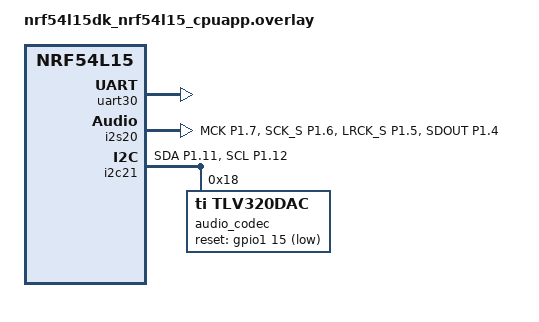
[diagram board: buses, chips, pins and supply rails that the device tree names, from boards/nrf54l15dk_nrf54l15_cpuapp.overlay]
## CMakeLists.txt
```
# SPDX-License-Identifier: Apache-2.0

cmake_minimum_required(VERSION 3.20.0)
find_package(Zephyr REQUIRED HINTS $ENV{ZEPHYR_BASE})
project(bap_broadcast_sink)

target_sources(app PRIVATE
  src/main.c
  src/stream_rx.c
)

target_sources_ifdef(CONFIG_ENABLE_LC3 app PRIVATE src/lc3.c)

if(CONFIG_USE_CODEC_AUDIO_OUTPUT)
  target_sources(app PRIVATE src/hw_codec.c)
endif()

if(CONFIG_USE_USB_AUDIO_OUTPUT)
  include(${ZEPHYR_BASE}/samples/subsys/usb/common/common.cmake)
  target_sources(app PRIVATE src/usb.c)
endif()
```

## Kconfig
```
# Copyright (c) 2022 Nordic Semiconductor ASA
# SPDX-License-Identifier: Apache-2.0

mainmenu "Bluetooth: Broadcast Audio Sink"

config SCAN_OFFLOAD
	bool "Whether to wait for a Broadcast Assistant"
	default y
	# enable PAST support if we can
	select BT_PER_ADV_SYNC_TRANSFER_RECEIVER if (!HAS_BT_CTLR || \
						     BT_CTLR_SYNC_TRANSFER_RECEIVER_SUPPORT)
	help
	  If set to true, the sample will start advertising connectable for
	  Broadcast Assistants.

config SCAN_SELF
	bool "Whether to scan for Broadcast Sources without Broadcast Assistant"
	default y
	help
	  If set to true, the sample will start scanning for Broadcast Sources
	  without waiting for a Broadcast Assistant to connect.

config SCAN_DELAY
	int "Delay before starting scan (in seconds)"
	range 0 255
	default 10
	depends on SCAN_SELF
	help
	  Time to advertise connectable for a Broadcast Assistant to connect
	  before starting scanning for Broadcast Sources.

config TARGET_BROADCAST_NAME
	string "Target Broadcast Device Name"
	default ""
	help
	  Name of target broadcast device. If not empty string, sink device
	  will only listen to the specified broadcast source. Not case sensitive.

config MAX_CODEC_FRAMES_PER_SDU
	int "The maximum number of codec frame per SDU supported"
	default 1
	range 1 255
	help
	  Maximum number of codec frames per SDU supported by this device. Increasing this value
	  allows support for a greater variety of broadcasts, but also increases memory usage.

config ENABLE_LC3
	bool "Enable the LC3 codec"
	# By default let's enable it in the platforms we know are capable of supporting it
	default y
	depends on CPU_HAS_FPU && \
		(ARCH_POSIX || SOC_COMPATIBLE_NRF52X || SOC_COMPATIBLE_NRF5340_CPUAPP || SOC_MIMXRT1062 || SOC_SF32LB525UC6)
	select LIBLC3
	select FPU

config USE_USB_AUDIO_OUTPUT
	bool "Use USB Audio as output"
	depends on ENABLE_LC3
	select USB_DEVICE_STACK_NEXT
	select USBD_AUDIO2_CLASS
	select RING_BUFFER
	help
	  Enables USB audio as output as a USB peripheral. This does not support providing USB
	  audio to e.g. speakers that are also USB peripherals, but can be connected to e.g. a
	  phone or PC as a USB-in device (such as a USB microphone).
	  USB audio only supports a single audio channel.

config USE_CODEC_AUDIO_OUTPUT
	bool "Use Codec Audio as output"
	depends on ENABLE_LC3
	select RING_BUFFER
	help
	  Enables codec audio as output. This uses the hardware audio codec for audio playback.
	  Supports audio output through the codec driver.

config USE_SPECIFIC_BROADCAST_CHANNEL
	bool "Use specific Broadcast Channel Audio Location"
	default y
	depends on USE_USB_AUDIO_OUTPUT
	help
	  Enables the use of a specific Channel Audio Location (see config TARGET_BROADCAST_CHANNEL).

config TARGET_BROADCAST_CHANNEL
	int "Broadcast Channel Audio Location to sync to"
	range 0 3
	default 1
	depends on USE_SPECIFIC_BROADCAST_CHANNEL
	help
	  Channel Audio Location to sync to. These corresponds to the bt_audio_location,
	  supporting mono, left and right channels

config INFO_REPORTING_INTERVAL
	int "Number of SDUs received between each information report"
	default 1000
	help
	  Determines how often information about received data is logged.
	  Set to 0 to disable reporting.

# Source common USB sample options used to initialize new experimental USB device stack.
# The scope of these options is limited to USB samples in project tree,
# you cannot use them in your own application.
source "samples/subsys/usb/common/Kconfig.sample_usbd"

source "Kconfig.zephyr"
```

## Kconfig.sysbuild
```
# Copyright 2023 Nordic Semiconductor ASA
# SPDX-License-Identifier: Apache-2.0

source "share/sysbuild/Kconfig"

config NET_CORE_BOARD
	string
	default "$(BOARD)/nrf5340/cpunet" if $(BOARD) = "nrf5340dk"
	default "$(BOARD)/nrf5340/cpunet" if $(BOARD) = "nrf5340_audio_dk"
	default "$(BOARD)/nrf5340/cpunet" if $(BOARD) = "nrf5340bsim"
	default "$(BOARD)/nrf54h20/cpurad" if $(BOARD) = "nrf54h20dk"
	default "nrf5340bsim/nrf5340/cpunet" if $(BOARD_TARGET_STRING) = "NRF5340BSIM_NRF5340_CPUAPP"

config NET_CORE_IMAGE_HCI_IPC
	bool "HCI IPC image on network core"
	default y
	depends on NET_CORE_BOARD != ""
```

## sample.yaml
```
sample:
  description: Bluetooth Low Energy Audio Broadcast Sink sample
  name: Bluetooth Low Energy Audio Broadcast Sink sample
tests:
  sample.bluetooth.bap_broadcast_sink:
    harness: bluetooth
    platform_allow:
      - qemu_cortex_m3
      - qemu_x86
      - nrf5340dk/nrf5340/cpuapp
      - nrf5340bsim/nrf5340/cpuapp
      - sf32lb52_devkit_lcd/sf32lb525uc6
    integration_platforms:
      - qemu_x86
      - nrf5340dk/nrf5340/cpuapp
    tags: bluetooth
    sysbuild: true
  sample.bluetooth.bap_broadcast_sink.bt_ll_sw_split:
    harness: bluetooth
    platform_allow:
      - nrf52_bsim
      - nrf52833dk/nrf52833
      - nrf52840dongle/nrf52840
    integration_platforms:
      - nrf52_bsim
      - nrf52833dk/nrf52833
      - nrf52840dongle/nrf52840
    extra_args: EXTRA_CONF_FILE=overlay-bt_ll_sw_split.conf
    tags: bluetooth
```

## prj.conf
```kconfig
CONFIG_BT=y
CONFIG_LOG=y
CONFIG_UTF8=y
CONFIG_BT_AUDIO=y
CONFIG_BT_SMP=y
CONFIG_BT_PAC_SNK=y
CONFIG_BT_PERIPHERAL=y
CONFIG_BT_GAP_AUTO_UPDATE_CONN_PARAMS=n
# Set preferred values based on BT_BAP_CONN_PARAM_RELAXED
CONFIG_BT_PERIPHERAL_PREF_MIN_INT=50
CONFIG_BT_PERIPHERAL_PREF_MAX_INT=70
CONFIG_BT_PERIPHERAL_PREF_LATENCY=0
CONFIG_BT_PERIPHERAL_PREF_TIMEOUT=400
CONFIG_BT_OBSERVER=y
CONFIG_BT_GATT_DYNAMIC_DB=y
CONFIG_BT_EXT_ADV=y
CONFIG_BT_PER_ADV_SYNC=y
CONFIG_BT_ISO_SYNC_RECEIVER=y
CONFIG_BT_BAP_BROADCAST_SINK=y
CONFIG_BT_BAP_SCAN_DELEGATOR=y
CONFIG_BT_ISO_MAX_CHAN=2
# Allocate 4 RX buffers per channel
CONFIG_BT_ISO_RX_BUF_COUNT=16
CONFIG_BT_BAP_BROADCAST_SNK_SUBGROUP_COUNT=2
CONFIG_BT_BAP_BROADCAST_SNK_STREAM_COUNT=2
CONFIG_BT_BAP_BASS_MAX_SUBGROUPS=2
CONFIG_BT_BUF_ACL_RX_SIZE=255
CONFIG_BT_BUF_ACL_TX_SIZE=251
CONFIG_BT_AUDIO_CODEC_CFG_MAX_METADATA_SIZE=64
CONFIG_BT_AUDIO_CODEC_CFG_MAX_DATA_SIZE=64
CONFIG_BT_AUDIO_CODEC_CAP_MAX_METADATA_SIZE=64
CONFIG_BT_AUDIO_CODEC_CAP_MAX_DATA_SIZE=64

CONFIG_BT_DEVICE_NAME="Broadcast Audio Sink"
```

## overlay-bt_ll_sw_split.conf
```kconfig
# Zephyr Bluetooth Controller
CONFIG_BT_LL_SW_SPLIT=y

# Enable support for Broadcast ISO Sync
CONFIG_BT_CTLR_SYNC_ISO=y

# Supports the highest SDU size required by any BAP LC3 presets (155)
CONFIG_BT_CTLR_SYNC_ISO_PDU_LEN_MAX=155

# Supports the highest advertising data that is set in a single HCI command in
# Zephyr Bluetooth Controller
CONFIG_BT_CTLR_SCAN_DATA_LEN_MAX=191

# Number of supported streams
CONFIG_BT_CTLR_SYNC_ISO_STREAM_MAX=2
CONFIG_BT_CTLR_ISOAL_SINKS=2
CONFIG_BT_CTLR_ADV_DATA_LEN_MAX=50
```

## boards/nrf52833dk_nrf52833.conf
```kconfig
# Use USB Audio as audio sink
CONFIG_USE_USB_AUDIO_OUTPUT=y
CONFIG_USB_DEVICE_PRODUCT="USB Broadcast Sink"
```

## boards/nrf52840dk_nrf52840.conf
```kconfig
# Use USB Audio as audio sink
CONFIG_USE_USB_AUDIO_OUTPUT=y
CONFIG_SAMPLE_USBD_PRODUCT="USB Broadcast Sink sample"
```

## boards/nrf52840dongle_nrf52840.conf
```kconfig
# Use USB Audio as audio sink
CONFIG_USE_USB_AUDIO_OUTPUT=y
CONFIG_USB_DEVICE_PRODUCT="USB Broadcast Sink"

CONFIG_BOARD_SERIAL_BACKEND_CDC_ACM=n
```

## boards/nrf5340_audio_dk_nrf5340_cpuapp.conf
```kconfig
# Use CS47L63 codec for audio output via I2S
CONFIG_USE_CODEC_AUDIO_OUTPUT=y
CONFIG_SPI=y
CONFIG_AUDIO=y
CONFIG_AUDIO_CODEC=y
CONFIG_USE_I2S_CODEC=y
CONFIG_I2S=y
CONFIG_LOG=y
CONFIG_LOG_BUFFER_SIZE=4096
```

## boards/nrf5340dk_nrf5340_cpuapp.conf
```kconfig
# Use USB Audio as audio sink
CONFIG_USE_USB_AUDIO_OUTPUT=y
CONFIG_USB_DEVICE_PRODUCT="USB Broadcast Sink"
CONFIG_ENTROPY_GENERATOR=y
```

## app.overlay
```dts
/*
 * Copyright (c) 2025 Nordic Semiconductor ASA
 *
 * SPDX-License-Identifier: Apache-2.0
 */

#include <dt-bindings/usb/audio.h>

/ {
	uac2_microphone: usb_audio2 {
		compatible = "zephyr,uac2";
		status = "okay";
		full-speed;
		audio-function = <AUDIO_FUNCTION_MICROPHONE>;

		/* Clock supporting 48KHz
		 *
		 * Since the incoming audio may be between 8 and 48 KHz, we always upsample to 48KHz
		 */
		uac_aclk: aclk {
			compatible = "zephyr,uac2-clock-source";
			clock-type = "internal-programmable";
			frequency-control = "read-only";
			sampling-frequencies = <48000>;
			/* Falsely claim synchronous audio because we
			 * currently don't calculate feedback value
			 */
			sof-synchronized;
		};

		/* The out_terminal supports the incoming Bluetooth LE Audio over ISO
		 * and treats it as a microphone towards the USB host
		 */
		out_terminal: out_terminal {
			compatible = "zephyr,uac2-input-terminal";
			clock-source = <&uac_aclk>;
			terminal-type = <INPUT_TERMINAL_MICROPHONE>;
			front-left;
			front-right;
		};

		/* USB Audio terminal from USB device to USB host */
		in_terminal: in_terminal {
			compatible = "zephyr,uac2-output-terminal";
			data-source = <&out_terminal>;
			clock-source = <&uac_aclk>;
			terminal-type = <USB_TERMINAL_STREAMING>;
		};

		as_iso_in: in_interface {
			compatible = "zephyr,uac2-audio-streaming";
			linked-terminal = <&in_terminal>;
			subslot-size = <2>;
			bit-resolution = <16>;
		};
	};
};
```

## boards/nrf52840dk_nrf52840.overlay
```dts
/*
 * Copyright (c) 2025 Nordic Semiconductor ASA
 *
 * SPDX-License-Identifier: Apache-2.0
 */

#include "../app.overlay"
```

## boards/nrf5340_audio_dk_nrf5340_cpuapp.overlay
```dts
/*
 * Copyright (c) 2025 Nordic Semiconductor ASA
 *
 * SPDX-License-Identifier: Apache-2.0
 */

#include "../app.overlay"

/ {
	aliases {
		codec0 = &cs47l63;
		i2s-codec-tx = &i2s0;
	};
};

/* Use HFCLKAUDIO for stable I2S master clocking on nRF5340 Audio DK */
&clock {
	hfclkaudio-frequency = <12288000>;
};

&i2s0 {
	clock-source = "ACLK";
};
```

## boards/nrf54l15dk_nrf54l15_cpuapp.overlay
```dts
/*
 * Copyright (c) 2025 Nordic Semiconductor ASA
 *
 * SPDX-License-Identifier: Apache-2.0
 */

/ {
	chosen {
		zephyr,shell-uart = &uart30;
		zephyr,console = &uart30;
	};

	aliases {
		codec0 = &audio_codec;
		i2s-codec-tx = &i2s20;
	};
};

&uart20 {
	status = "disabled";
};

&uart30 {
	status = "okay";
};

&i2s20 {
	status = "okay";
	pinctrl-0 = <&i2s20_default>;
	pinctrl-1 = <&i2s20_sleep>;
	pinctrl-names = "default", "sleep";
};

&i2c21 {
	status = "okay";
	pinctrl-0 = <&i2c21_default>;
	pinctrl-1 = <&i2c21_sleep>;
	pinctrl-names = "default", "sleep";

	audio_codec: tlv320dac@18 {
		compatible = "ti,tlv320dac";
		status = "okay";
		reg = <0x18>;
		reset-gpios = <&gpio1 15 GPIO_ACTIVE_LOW>;
	};
};

&pinctrl {
	i2s20_default: i2s20_default {
		group1 {
			psels = <NRF_PSEL(I2S_MCK, 1, 7)>,
				<NRF_PSEL(I2S_SCK_S, 1, 6)>,
				<NRF_PSEL(I2S_LRCK_S, 1, 5)>,
				<NRF_PSEL(I2S_SDOUT, 1, 4)>;
		};
	};

	i2s20_sleep: i2s20_sleep {
		group1 {
			psels = <NRF_PSEL(I2S_MCK, 1, 7)>,
				<NRF_PSEL(I2S_SCK_S, 1, 6)>,
				<NRF_PSEL(I2S_LRCK_S, 1, 5)>,
				<NRF_PSEL(I2S_SDOUT, 1, 4)>;
			low-power-enable;
		};
	};

	i2c21_default: i2c21_default {
		group1 {
			psels = <NRF_PSEL(TWIM_SDA, 1, 11)>,
				<NRF_PSEL(TWIM_SCL, 1, 12)>;
		};
	};

	i2c21_sleep: i2c21_sleep {
		group1 {
			psels = <NRF_PSEL(TWIM_SDA, 1, 11)>,
				<NRF_PSEL(TWIM_SCL, 1, 12)>;
			low-power-enable;
		};
	};
};
```

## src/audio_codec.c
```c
/**
 * @file
 * @brief Bluetooth BAP Broadcast Sink audio codec integration
 *
 * This file handles all the audio codec hardware integration for the sample
 *
 * Copyright (c) 2025 SiFli Technologies(Nanjing) Co., Ltd
 *
 * SPDX-License-Identifier: Apache-2.0
 */

#include <errno.h>
#include <stdbool.h>
#include <stddef.h>
#include <stdint.h>
#include <string.h>

#include <zephyr/autoconf.h>
#include <zephyr/device.h>
#include <zephyr/devicetree.h>
#include <zephyr/kernel.h>
#include <zephyr/logging/log.h>
#include <zephyr/audio/codec.h>

LOG_MODULE_REGISTER(codec, CONFIG_LOG_DEFAULT_LEVEL);

/*
 * Size of one audio block transferred to the codec, in bytes.
 *
 * For the configuration used here (16bit samples, mono channel),
 * 480 bytes correspond to 240 PCM samples per block. This value was
 * chosen as a compromise between:
 *  - keeping latency reasonably low (smaller blocks)
 *  - avoiding excessive interrupt / DMA overhead (larger blocks).
 * If the PCM format (sample width or number of channels) is changed,
 * this constant should be revisited so that the block size remains
 * appropriate for the target use case and hardware.
 */
#define CODEC_BLOCK_SIZE 480U

/*
 * Default speaker/output volume sent via AUDIO_PROPERTY_OUTPUT_VOLUME.
 *
 * The valid numeric range and exact mapping to dB are codec‑dependent;
 * refer to the specific codec driver / datasheet for details. The value
 * 15 was selected as a conservative, comfortable default for this sample
 * application. Adjust as needed to match the desired default output level.
 */
#define SPEAKER_VOL 15

/*
 * Total size of the ring buffer used to queue audio data for the codec.
 *
 * The buffer is sized to hold 20 CODEC_BLOCK_SIZE blocks. Having multiple
 * blocks queued reduces the likelihood of underruns when the producer is
 * briefly delayed, while still keeping overall latency and RAM usage
 * bounded. Increasing the multiplier adds buffering (and latency / RAM
 * consumption); decreasing it reduces buffering but makes underruns more
 * likely on a busy system.
 */
#define RING_BUF_SIZE (CODEC_BLOCK_SIZE * 20U)

#if DT_NODE_HAS_STATUS_OKAY(DT_ALIAS(codec0))

static uint8_t ring_buffer[RING_BUF_SIZE];
static struct ring_buf rb;
static bool codec_configured;
static uint8_t block_data[CODEC_BLOCK_SIZE];
static const struct device *g_dev;

static void tx_done(const struct device *dev, void *user_data)
{
	uint32_t avail;
	uint32_t read;
	int written;

	avail = ring_buf_size_get(&rb);
	if (avail < CODEC_BLOCK_SIZE) {
		LOG_WRN("Buffer does not have enough data for a full block");
		return;
	}
	read = ring_buf_get(&rb, block_data, CODEC_BLOCK_SIZE);
	if (read != CODEC_BLOCK_SIZE) {
		LOG_WRN("Failed to read full block from ring buffer: %u bytes", read);
		return;
	}
	written = audio_codec_write(dev, block_data, CODEC_BLOCK_SIZE);
	if (written != CODEC_BLOCK_SIZE) {
		LOG_WRN("Failed to write full block data to audio device: %u bytes", written);
		return;
	}
}

int hw_codec_open(void)
{
	g_dev = DEVICE_DT_GET(DT_ALIAS(codec0));
	if (!device_is_ready(g_dev)) {
		LOG_ERR("Could not open codec device");
		return -EIO;
	}
	ring_buf_init(&rb, RING_BUF_SIZE, ring_buffer);
	return 0;
}

int hw_codec_cfg(uint32_t samplerate)
{
	int ret;
	audio_property_value_t val = {.vol = SPEAKER_VOL};
	struct audio_codec_cfg cfg = {
		.dai_type = AUDIO_DAI_TYPE_PCM,
		.dai_cfg.pcm.dir = AUDIO_DAI_DIR_TX,
		.dai_cfg.pcm.pcm_width = AUDIO_PCM_WIDTH_16_BITS,
		.dai_cfg.pcm.channels = 1U,
		.dai_cfg.pcm.block_size = CODEC_BLOCK_SIZE,
		.dai_cfg.pcm.samplerate = samplerate,
	};

	if (codec_configured) {
		LOG_WRN("Already configured");
		return -EALREADY;
	}

	LOG_INF("codec: samplerate=%d block_size=%d", samplerate, CODEC_BLOCK_SIZE);
	audio_codec_register_done_callback(g_dev, tx_done, NULL, NULL, NULL);
	ret = audio_codec_configure(g_dev, &cfg);
	if (ret != 0) {
		LOG_ERR("Failed to configure codec (err %d)", ret);
		return ret;
	}

	ret = audio_codec_start(g_dev, AUDIO_DAI_DIR_TX);
	if (ret != 0) {
		LOG_ERR("Failed to start codec (err %d)", ret);
		return ret;
	}

	ret = audio_codec_set_property(g_dev, AUDIO_PROPERTY_OUTPUT_VOLUME, 0, val);
	if (ret != 0) {
		LOG_ERR("Failed to set codec output volume (err %d)", ret);
		audio_codec_stop(g_dev, AUDIO_DAI_DIR_TX);
		return ret;
	}
	codec_configured = true;

	return 0;
}

uint32_t hw_codec_write_data(const uint8_t *data, uint32_t len)
{
	uint32_t bytes_put;

	bytes_put = ring_buf_put(&rb, data, len);
	if (bytes_put != len) {
		LOG_WRN("Buffer full, only added %u bytes", bytes_put);
	}
	return bytes_put;
}

int hw_codec_close(void)
{
	if (g_dev != NULL && codec_configured) {
		audio_codec_stop(g_dev, AUDIO_DAI_DIR_TX);
		ring_buf_reset(&rb);
		codec_configured = false;
		return 0;
	} else {
		return -EIO;
	}
}

#else

int hw_codec_open(void)
{
	return 0;
}

int hw_codec_cfg(uint32_t samplerate)
{
	return 0;
}

uint32_t hw_codec_write_data(const uint8_t *data, uint32_t len)
{
	return len;
}

int hw_codec_close(void)
{
	return 0;
}

#endif
```

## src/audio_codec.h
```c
/**
 * @file
 * @brief Bluetooth BAP Broadcast Sink sample audio codec header
 *
 * This file declares the audio codec related functionality for the sample
 *
 * Copyright (c) 2025 SiFli Technologies(Nanjing) Co., Ltd
 *
 * SPDX-License-Identifier: Apache-2.0
 */

#ifndef SAMPLE_BAP_BROADCAST_SINK_AUDIO_CODEC_H
#define SAMPLE_BAP_BROADCAST_SINK_AUDIO_CODEC_H
#include <stddef.h>
#include <stdint.h>

/**
 * @brief Open and initialize the audio codec.
 *
 * This function prepares the audio codec for use, allocating and
 * initializing any required resources.
 *
 * @retval 0        On success.
 * @retval negative On failure, with a negative error code.
 */
int hw_codec_open(void);

/**
 * @brief Configure the audio codec sampling rate.
 *
 * This function applies the desired sampling rate to the audio codec.
 * It must be called after @ref hw_codec_open and before sending
 * audio data with @ref hw_codec_write_data.
 *
 * @param samplerate Sampling rate in Hz (for example, 48000 for 48 kHz).
 *
 * @retval 0        On success.
 * @retval -EALREADY If the codec is already configured.
 * @return negative  On other failures, with a negative error code.
 */
int hw_codec_cfg(uint32_t samplerate);

/**
 * @brief Write audio data to the codec for playback.
 *
 * This function sends raw audio samples to the codec. It should be
 * called after the codec has been opened and configured.
 *
 * @param data Pointer to the buffer containing audio data.
 * @param len  Number of bytes of audio data to write.
 *
 * @return The number of bytes actually written to the codec. A value
 *         less than @p len indicates a partial write.
 */
uint32_t hw_codec_write_data(const uint8_t *data, uint32_t len);

/**
 * @brief Close the audio codec and release resources.
 *
 * This function stops the codec if necessary and frees any resources
 * that were allocated by @ref hw_codec_open.
 *
 * @retval 0    On success.
 * @retval -EIO If the codec has not been opened or configured.
 */
int hw_codec_close(void);

#endif /* SAMPLE_BAP_BROADCAST_SINK_AUDIO_CODEC_H */
```

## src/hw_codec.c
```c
/**
 * @file
 * @brief Bluetooth BAP Broadcast Sink audio codec integration
 *
 * This file handles all the audio codec hardware integration for the sample
 *
 * Copyright (c) 2025 SiFli Technologies(Nanjing) Co., Ltd
 *
 * SPDX-License-Identifier: Apache-2.0
 */

#include <errno.h>
#include <stdbool.h>
#include <stddef.h>
#include <stdint.h>

#include <zephyr/autoconf.h>
#include <zephyr/device.h>
#include <zephyr/devicetree.h>
#include <zephyr/kernel.h>
#include <zephyr/logging/log.h>
#include <zephyr/audio/codec.h>
#include <zephyr/sys/ring_buffer.h>
#include <zephyr/toolchain.h>

LOG_MODULE_REGISTER(codec, CONFIG_LOG_DEFAULT_LEVEL);

/*
 * Size of one audio block transferred to the codec, in bytes.
 *
 * For the configuration used here (16bit samples, mono channel),
 * 480 bytes correspond to 240 PCM samples per block. This value was
 * chosen as a compromise between:
 *  - keeping latency reasonably low (smaller blocks)
 *  - avoiding excessive interrupt / DMA overhead (larger blocks).
 * If the PCM format (sample width or number of channels) is changed,
 * this constant should be revisited so that the block size remains
 * appropriate for the target use case and hardware.
 */
#define CODEC_BLOCK_SIZE 480U

/*
 * Default speaker/output volume sent via AUDIO_PROPERTY_OUTPUT_VOLUME.
 *
 * The valid numeric range and exact mapping to dB are codec‑dependent;
 * refer to the specific codec driver / datasheet for details. The value
 * 15 was selected as a conservative, comfortable default for this sample
 * application. Adjust as needed to match the desired default output level.
 */
#define SPEAKER_VOL 15U

/*
 * Total size of the ring buffer used to queue audio data for the codec.
 *
 * The buffer is sized to hold 20 CODEC_BLOCK_SIZE blocks. Having multiple
 * blocks queued reduces the likelihood of underruns when the producer is
 * briefly delayed, while still keeping overall latency and RAM usage
 * bounded. Increasing the multiplier adds buffering (and latency / RAM
 * consumption); decreasing it reduces buffering but makes underruns more
 * likely on a busy system.
 */
#define RING_BUF_SIZE (CODEC_BLOCK_SIZE * 20U)

static uint8_t ring_buffer[RING_BUF_SIZE];
static struct ring_buf rb;
static bool codec_configured;
static uint8_t block_data[CODEC_BLOCK_SIZE];
static const struct device *g_dev;

K_MEM_SLAB_DEFINE_IN_SECT_STATIC(mem_slab, __nocache, CODEC_BLOCK_SIZE, 20U, 4);

static void tx_done(const struct device *dev, void *user_data)
{
	uint32_t avail;
	uint32_t read;
	int written;

	ARG_UNUSED(user_data);

	avail = ring_buf_size_get(&rb);
	if (avail < CODEC_BLOCK_SIZE) {
		LOG_WRN("Buffer does not have enough data for a full block");
		return;
	}

	read = ring_buf_get(&rb, block_data, CODEC_BLOCK_SIZE);
	if (read != CODEC_BLOCK_SIZE) {
		LOG_WRN("Failed to read full block from ring buffer: %u bytes", read);
		return;
	}

	written = audio_codec_write(dev, block_data, CODEC_BLOCK_SIZE);
	if (written != CODEC_BLOCK_SIZE) {
		LOG_WRN("Failed to write full block data to audio device: %u bytes", written);
		return;
	}
}

int hw_codec_open(void)
{
	g_dev = DEVICE_DT_GET(DT_ALIAS(codec0));
	if (!device_is_ready(g_dev)) {
		LOG_ERR("Could not open codec device");
		return -EIO;
	}
	ring_buf_init(&rb, RING_BUF_SIZE, ring_buffer);
	return 0;
}

int hw_codec_cfg(uint32_t samplerate)
{
	int ret;
	audio_property_value_t val = {.vol = SPEAKER_VOL};
	struct audio_codec_cfg audio_cfg = {
		.dai_type = AUDIO_DAI_TYPE_PCM,
		.dai_cfg.pcm.dir = AUDIO_DAI_DIR_TX,
		.dai_cfg.pcm.pcm_width = AUDIO_PCM_WIDTH_16_BITS,
		.dai_cfg.pcm.channels = 1U,
		.dai_cfg.pcm.block_size = CODEC_BLOCK_SIZE,
		.dai_cfg.pcm.samplerate = samplerate,
	};

	if (codec_configured) {
		LOG_WRN("Already configured");
		return -EALREADY;
	}

	LOG_INF("codec: samplerate=%d block_size=%d", samplerate, CODEC_BLOCK_SIZE);

	audio_codec_register_done_callback(g_dev, tx_done, NULL, NULL, NULL);

#if defined(CONFIG_USE_I2S_CODEC)
	/* MCLK frequency: 12.288 MHz is standard for 48kHz sample rates
	 * For other rates, calculate as 256 * samplerate (common ratio)
	 */
	audio_cfg.mclk_freq = 256 * samplerate;
	audio_cfg.dai_route = AUDIO_ROUTE_PLAYBACK;
	audio_cfg.dai_type = AUDIO_DAI_TYPE_I2S;
	audio_cfg.dai_cfg.i2s.word_size = AUDIO_PCM_WIDTH_16_BITS;
	audio_cfg.dai_cfg.i2s.channels = 2;
	audio_cfg.dai_cfg.i2s.format = I2S_FMT_DATA_FORMAT_I2S;
#if defined(CONFIG_USE_I2S_CODEC_CLK_MASTER)
	audio_cfg.dai_cfg.i2s.options = I2S_OPT_FRAME_CLK_CONTROLLER | I2S_OPT_BIT_CLK_CONTROLLER;
#else /* !CONFIG_USE_I2S_CODEC_CLK_MASTER */
	audio_cfg.dai_cfg.i2s.options = I2S_OPT_FRAME_CLK_TARGET | I2S_OPT_BIT_CLK_TARGET;
#endif /* !CONFIG_USE_I2S_CODEC_CLK_MASTER */
	audio_cfg.dai_cfg.i2s.frame_clk_freq = samplerate;
	audio_cfg.dai_cfg.i2s.mem_slab = &mem_slab;
	audio_cfg.dai_cfg.i2s.block_size = CODEC_BLOCK_SIZE;
#endif /* CONFIG_USE_I2S_CODEC */

	ret = audio_codec_configure(g_dev, &audio_cfg);
	if (ret != 0) {
		LOG_ERR("Failed to configure codec (err %d)", ret);
		return ret;
	}

	ret = audio_codec_start(g_dev, AUDIO_DAI_DIR_TX);
	if (ret != 0) {
		LOG_ERR("Failed to start codec (err %d)", ret);
		return ret;
	}

	ret = audio_codec_set_property(g_dev, AUDIO_PROPERTY_OUTPUT_VOLUME, 0, val);
	if (ret != 0) {
		LOG_ERR("Failed to set codec output volume (err %d)", ret);
		if (audio_codec_stop(g_dev, AUDIO_DAI_DIR_TX) < 0) {
			LOG_ERR("Failed to stop codec");
		}
		return ret;
	}

	/* Start the codec output - this powers up and unmutes the DAC */
	audio_codec_start_output(g_dev);

	codec_configured = true;

	return 0;
}

uint32_t hw_codec_write_data(const uint8_t *data, uint32_t len)
{
	uint32_t bytes_put;

	bytes_put = ring_buf_put(&rb, data, len);
	if (bytes_put != len) {
		LOG_WRN("Buffer full, only added %u bytes", bytes_put);
	}
	return bytes_put;
}

int hw_codec_close(void)
{
	if (g_dev != NULL && codec_configured) {
		int ret = audio_codec_stop(g_dev, AUDIO_DAI_DIR_TX);

		if (ret < 0) {
			return ret;
		}
		ring_buf_reset(&rb);
		codec_configured = false;
		return 0;
	} else {
		return -EIO;
	}
}
```

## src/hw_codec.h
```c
/**
 * @file
 * @brief Bluetooth BAP Broadcast Sink sample audio codec header
 *
 * This file declares the audio codec related functionality for the sample
 *
 * Copyright (c) 2025 SiFli Technologies(Nanjing) Co., Ltd
 *
 * SPDX-License-Identifier: Apache-2.0
 */

#ifndef SAMPLE_BAP_BROADCAST_SINK_HW_CODEC_H
#define SAMPLE_BAP_BROADCAST_SINK_HW_CODEC_H
#include <stddef.h>
#include <stdint.h>

/**
 * @brief Open and initialize the audio codec.
 *
 * This function prepares the audio codec for use, allocating and
 * initializing any required resources.
 *
 * @retval 0        On success.
 * @return negative On failure, with a negative error code.
 */
int hw_codec_open(void);

/**
 * @brief Configure the audio codec sampling rate.
 *
 * This function applies the desired sampling rate to the audio codec.
 * It must be called after @ref hw_codec_open and before sending
 * audio data with @ref hw_codec_write_data.
 *
 * @param samplerate Sampling rate in Hz (for example, 48000 for 48 kHz).
 *
 * @retval 0        On success.
 * @retval -EALREADY If the codec is already configured.
 * @return negative  On other failures, with a negative error code.
 */
int hw_codec_cfg(uint32_t samplerate);

/**
 * @brief Write audio data to the codec for playback.
 *
 * This function sends raw audio samples to the codec. It should be
 * called after the codec has been opened and configured.
 *
 * @param data Pointer to the buffer containing audio data.
 * @param len  Number of bytes of audio data to write.
 *
 * @return The number of bytes actually written to the codec. A value
 *         less than @p len indicates a partial write.
 */
uint32_t hw_codec_write_data(const uint8_t *data, uint32_t len);

/**
 * @brief Close the audio codec and release resources.
 *
 * This function stops the codec if necessary and frees any resources
 * that were allocated by @ref hw_codec_open.
 *
 * @retval 0    On success.
 * @retval -EIO If the codec has not been opened or configured.
 */
int hw_codec_close(void);

#endif /* SAMPLE_BAP_BROADCAST_SINK_HW_CODEC_H */
```

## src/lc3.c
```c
/**
 * @file
 * @brief Bluetooth BAP Broadcast Sink LC3 extension
 *
 * This files handles all the LC3 related functionality for the sample
 *
 * Copyright (c) 2025 Nordic Semiconductor ASA
 *
 * SPDX-License-Identifier: Apache-2.0
 */

#include <errno.h>
#include <stdbool.h>
#include <stddef.h>
#include <stdint.h>
#include <string.h>

#include <zephyr/autoconf.h>
#include <zephyr/bluetooth/assigned_numbers.h>
#include <zephyr/bluetooth/audio/audio.h>
#include <zephyr/bluetooth/hci_types.h>
#include <zephyr/bluetooth/iso.h>
#include <zephyr/device.h>
#include <zephyr/devicetree.h>
#include <zephyr/kernel.h>
#include <zephyr/kernel/thread_stack.h>
#include <zephyr/logging/log.h>
#include <zephyr/logging/log_core.h>
#include <zephyr/net_buf.h>
#include <zephyr/shell/shell.h>
#include <zephyr/sys/ring_buffer.h>
#include <zephyr/sys/util.h>
#include <zephyr/sys/util_macro.h>
#include <zephyr/sys_clock.h>
#include <zephyr/toolchain.h>
#include <zephyr/usb/usb_device.h>
#include <zephyr/usb/class/usb_audio.h>

#include <lc3.h>

#include "lc3.h"
#include "stream_rx.h"
#include "usb.h"
#include "hw_codec.h"

LOG_MODULE_REGISTER(lc3, CONFIG_LOG_DEFAULT_LEVEL);

struct lc3_data {
	void *fifo_reserved; /* 1st word reserved for use by FIFO */
	struct net_buf *buf;
	struct stream_rx *stream;
	uint32_t ts;
	bool do_plc;
};

K_MEM_SLAB_DEFINE_STATIC_TYPE(lc3_data_slab, struct lc3_data, CONFIG_BT_ISO_RX_BUF_COUNT);

static int16_t lc3_rx_buf[LC3_MAX_NUM_SAMPLES_MONO];
static K_FIFO_DEFINE(lc3_in_fifo);

/* We only want to send USB to left/right from a single stream. If we have 2 left streams, the
 * outgoing audio is going to be terrible.
 * Since a stream can contain stereo data, both of these may be the same stream.
 */
static struct stream_rx *usb_left_stream;
static struct stream_rx *usb_right_stream;

static int init_lc3_decoder(struct stream_rx *stream, uint32_t lc3_frame_duration_us,
			    uint32_t lc3_freq_hz)
{
	if (stream == NULL) {
		LOG_ERR("NULL stream to init LC3 decoder");
		return -EINVAL;
	}

	if (stream->lc3_decoder != NULL) {
		LOG_ERR("Already initialized");
		return -EALREADY;
	}

	if (lc3_freq_hz == 0U || lc3_frame_duration_us == 0U) {
		LOG_ERR("Invalid freq (%u) or frame duration (%u)", lc3_freq_hz,
			lc3_frame_duration_us);

		return -EINVAL;
	}

	LOG_INF("Initializing the LC3 decoder with %u us duration and %u Hz frequency",
		lc3_frame_duration_us, lc3_freq_hz);
	/* Create the decoder instance. This shall complete before stream_started() is called. */
	stream->lc3_decoder =
		lc3_setup_decoder(lc3_frame_duration_us, lc3_freq_hz,
				  IS_ENABLED(CONFIG_USE_USB_AUDIO_OUTPUT) ? USB_SAMPLE_RATE_HZ : 0,
				  &stream->lc3_decoder_mem);
	if (stream->lc3_decoder == NULL) {
		LOG_ERR("Failed to setup LC3 decoder - wrong parameters?\n");
		return -EINVAL;
	}

	LOG_INF("Initialized LC3 decoder for %p", stream);

	return 0;
}

static bool decode_frame(struct lc3_data *data, size_t frame_cnt)
{
	const struct stream_rx *stream = data->stream;
	const size_t total_frames = stream->lc3_chan_cnt * stream->lc3_frame_blocks_per_sdu;
	const uint16_t octets_per_frame = stream->lc3_octets_per_frame;
	struct net_buf *buf = data->buf;
	void *iso_data;
	int err;

	if (data->do_plc) {
		iso_data = NULL; /* perform PLC */

#if CONFIG_INFO_REPORTING_INTERVAL > 0
		if ((stream->reporting_info.lc3_decoded_cnt % CONFIG_INFO_REPORTING_INTERVAL) ==
		    0) {
			LOG_DBG("[%zu]: Performing PLC", stream->reporting_info.lc3_decoded_cnt);
		}
#endif /* CONFIG_INFO_REPORTING_INTERVAL > 0 */
	} else {
		iso_data = net_buf_pull_mem(data->buf, octets_per_frame);

#if CONFIG_INFO_REPORTING_INTERVAL > 0
		if ((stream->reporting_info.lc3_decoded_cnt % CONFIG_INFO_REPORTING_INTERVAL) ==
		    0) {
			LOG_DBG("[%zu]: Decoding frame of size %u (%u/%u)",
				stream->reporting_info.lc3_decoded_cnt, octets_per_frame,
				frame_cnt + 1, total_frames);
		}
#endif /* CONFIG_INFO_REPORTING_INTERVAL > 0 */
	}

	err = lc3_decode(stream->lc3_decoder, iso_data, octets_per_frame, LC3_PCM_FORMAT_S16,
			 lc3_rx_buf, 1);
	if (err < 0) {
		LOG_ERR("Failed to decode LC3 data (%u/%u - %u/%u)", frame_cnt + 1, total_frames,
			octets_per_frame * frame_cnt, buf->len);
		return false;
	}

	return true;
}

static int get_lc3_chan_alloc_from_index(const struct stream_rx *stream, uint8_t index,
					 enum bt_audio_location *chan_alloc)
{
#if defined(CONFIG_USE_USB_AUDIO_OUTPUT)
	const bool has_left = (stream->lc3_chan_allocation & BT_AUDIO_LOCATION_FRONT_LEFT) != 0;
	const bool has_right = (stream->lc3_chan_allocation & BT_AUDIO_LOCATION_FRONT_RIGHT) != 0;
	const bool is_mono = stream->lc3_chan_allocation == BT_AUDIO_LOCATION_MONO_AUDIO;
	const bool is_left = index == 0 && has_left;
	const bool is_right = has_right && (index == 0U || (index == 1U && has_left));

	/* LC3 is always Left before Right, so we can use the index and the stream channel
	 * allocation to determine if index 0 is left or right.
	 */
	if (is_left) {
		*chan_alloc = BT_AUDIO_LOCATION_FRONT_LEFT;
	} else if (is_right) {
		*chan_alloc = BT_AUDIO_LOCATION_FRONT_RIGHT;
	} else if (is_mono) {
		*chan_alloc = BT_AUDIO_LOCATION_MONO_AUDIO;
	} else {
		/* Not suitable for USB */
		return -EINVAL;
	}

	return 0;
#else  /* !CONFIG_USE_USB_AUDIO_OUTPUT */
	return -EINVAL;
#endif /* CONFIG_USE_USB_AUDIO_OUTPUT */
}

static int usb_add_frame(const struct stream_rx *stream, int chn, uint32_t ts)
{
	enum bt_audio_location chan_alloc;
	int err;

	err = get_lc3_chan_alloc_from_index(stream, chn, &chan_alloc);
	if (err != 0) {
		/* Not suitable for USB */
		return err;
	}
	/* We only want to left or right from one stream to USB */
	if ((chan_alloc == BT_AUDIO_LOCATION_FRONT_LEFT && stream != usb_left_stream) ||
		(chan_alloc == BT_AUDIO_LOCATION_FRONT_RIGHT && stream != usb_right_stream)) {
		return -EIO;
	}
	/* TODO: Add support for properly support the presentation delay.
	 * For now we just send audio to USB as soon as we get it
	 */
	return usb_add_frame_to_usb(chan_alloc, lc3_rx_buf, sizeof(lc3_rx_buf), ts);
}

static int codec_add_frame(const struct stream_rx *stream, int chn, uint32_t ts)
{
	ARG_UNUSED(stream);
	ARG_UNUSED(ts);

	/* Codec output is mono: only the primary (channel 0) is forwarded.
	 * Any additional channels are intentionally ignored.
	 */
	if (chn != 0) {
		return 0;
	} else {
		return hw_codec_write_data((const uint8_t *)lc3_rx_buf, sizeof(lc3_rx_buf));
	}
}

static size_t decode_frame_block(struct lc3_data *data, size_t frame_cnt)
{
	const struct stream_rx *stream = data->stream;
	const uint8_t chan_cnt = stream->lc3_chan_cnt;
	size_t decoded_frames = 0U;
	int ret = 0;

	for (uint8_t i = 0U; i < chan_cnt; i++) {
		/* We provide the total number of decoded frames to `decode_frame` for logging
		 * purposes
		 */
		if (decode_frame(data, frame_cnt + decoded_frames)) {
			decoded_frames++;
			if (IS_ENABLED(CONFIG_USE_CODEC_AUDIO_OUTPUT)) {
				ret = codec_add_frame(stream, i, data->ts);
				if (ret != 0) {
					LOG_ERR("codec_add_frame failed: %d", ret);
					continue;
				}
			}
			if (IS_ENABLED(CONFIG_USE_USB_AUDIO_OUTPUT)) {
				ret = usb_add_frame(stream, i, data->ts);
				if (ret != 0) {
					LOG_ERR("usb_add_frame failed: %d", ret);
					continue;
				}
			}
		} else {
			/* If decoding failed, we clear the data to USB as it would contain
			 * invalid data
			 */
			if (IS_ENABLED(CONFIG_USE_USB_AUDIO_OUTPUT)) {
				usb_clear_frames_to_usb();
			}
			break;
		}
	}
	return decoded_frames;
}

static void do_lc3_decode(struct lc3_data *data)
{
	struct stream_rx *stream = data->stream;

	if (stream->lc3_decoder != NULL) {
		const uint8_t frame_blocks_per_sdu = stream->lc3_frame_blocks_per_sdu;
		size_t frame_cnt;

		frame_cnt = 0U;
		for (uint8_t i = 0U; i < frame_blocks_per_sdu; i++) {
			const size_t decoded_frames = decode_frame_block(data, frame_cnt);

			if (decoded_frames == 0U) {
				break;
			}

			frame_cnt += decoded_frames;
		}

#if CONFIG_INFO_REPORTING_INTERVAL > 0
		stream->reporting_info.lc3_decoded_cnt++;
#endif /* CONFIG_INFO_REPORTING_INTERVAL > 0 */
	}

	net_buf_unref(data->buf);
}

static void lc3_decoder_thread_func(void *arg1, void *arg2, void *arg3)
{
	ARG_UNUSED(arg1);
	ARG_UNUSED(arg2);
	ARG_UNUSED(arg3);

	while (true) {
		struct lc3_data *data = k_fifo_get(&lc3_in_fifo, K_FOREVER);
		struct stream_rx *stream = data->stream;

		if (stream->lc3_decoder == NULL) {
			LOG_WRN("Decoder is NULL, discarding data from FIFO");
			k_mem_slab_free(&lc3_data_slab, (void *)data);
			continue; /* Wait for new data */
		}

		do_lc3_decode(data);

		k_mem_slab_free(&lc3_data_slab, (void *)data);
	}
}

int lc3_enable(struct stream_rx *stream)
{
	const struct bt_audio_codec_cfg *codec_cfg = stream->stream.codec_cfg;
	uint32_t lc3_frame_duration_us = 0U;
	uint32_t lc3_freq_hz = 0U;
	int ret;

	if (codec_cfg->id != BT_HCI_CODING_FORMAT_LC3) {
		return -EINVAL;
	}

	ret = bt_audio_codec_cfg_get_freq(codec_cfg);
	if (ret >= 0) {
		ret = bt_audio_codec_cfg_freq_to_freq_hz(ret);

		if (ret > 0) {
			if (ret == 8000 || ret == 16000 || ret == 24000 || ret == 32000 ||
			    ret == 48000) {
				lc3_freq_hz = (uint32_t)ret;
			} else {
				LOG_ERR("Unsupported frequency for LC3: %d", ret);
			}
		} else {
			LOG_ERR("Invalid frequency: %d", ret);
		}
	} else {
		LOG_ERR("Could not get frequency: %d", ret);
	}

	if (lc3_freq_hz == 0U) {
		return -EINVAL;
	}

	ret = bt_audio_codec_cfg_get_frame_dur(codec_cfg);
	if (ret >= 0) {
		ret = bt_audio_codec_cfg_frame_dur_to_frame_dur_us(ret);
		if (ret > 0) {
			lc3_frame_duration_us = (uint32_t)ret;
		} else {
			LOG_ERR("Invalid frame duration: %d", ret);
		}
	} else {
		LOG_ERR("Could not get frame duration: %d", ret);
	}

	if (lc3_frame_duration_us == 0U) {
		return -EINVAL;
	}

	ret = bt_audio_codec_cfg_get_chan_allocation(codec_cfg, &stream->lc3_chan_allocation, true);
	if (ret == 0) {
		stream->lc3_chan_cnt = bt_audio_get_chan_count(stream->lc3_chan_allocation);
	} else {
		LOG_DBG("Could not get channel allocation: %d", ret);
		stream->lc3_chan_cnt = 0U;
	}

	if (stream->lc3_chan_cnt == 0U) {
		return -EINVAL;
	}

	ret = bt_audio_codec_cfg_get_frame_blocks_per_sdu(codec_cfg, true);
	if (ret >= 0) {
		stream->lc3_frame_blocks_per_sdu = (uint8_t)ret;
	} else {
		LOG_ERR("Could not get frame blocks per SDU: %d", ret);
		stream->lc3_frame_blocks_per_sdu = 0U;
	}

	if (stream->lc3_frame_blocks_per_sdu == 0U) {
		return -EINVAL;
	}

	ret = bt_audio_codec_cfg_get_octets_per_frame(codec_cfg);
	if (ret >= 0) {
		stream->lc3_octets_per_frame = (uint16_t)ret;
	} else {
		LOG_ERR("Could not get octets per frame: %d", ret);
		stream->lc3_octets_per_frame = 0U;
	}

	if (stream->lc3_octets_per_frame == 0U) {
		return -EINVAL;
	}

	if (stream->lc3_decoder == NULL) {
		const int err = init_lc3_decoder(stream, lc3_frame_duration_us, lc3_freq_hz);

		if (err != 0) {
			LOG_ERR("Failed to init LC3 decoder: %d", err);
			return err;
		}
	}

	if (IS_ENABLED(CONFIG_USE_USB_AUDIO_OUTPUT)) {
		if ((stream->lc3_chan_allocation & BT_AUDIO_LOCATION_FRONT_LEFT) != 0) {
			if (usb_left_stream == NULL) {
				LOG_INF("Setting USB left stream to %p", stream);
				usb_left_stream = stream;
			} else {
				LOG_WRN("Multiple left streams started");
			}
		}

		if ((stream->lc3_chan_allocation & BT_AUDIO_LOCATION_FRONT_RIGHT) != 0) {
			if (usb_right_stream == NULL) {
				LOG_INF("Setting USB right stream to %p", stream);
				usb_right_stream = stream;
			} else {
				LOG_WRN("Multiple right streams started");
			}
		}
	}

	if (IS_ENABLED(CONFIG_USE_CODEC_AUDIO_OUTPUT)) {
		const int err = hw_codec_cfg(lc3_freq_hz);

		if ((err != 0) && (err != -EALREADY)) {
			LOG_ERR("Failed to configure codec: %d", err);
			return err;
		}
	}
	return 0;
}

int lc3_disable(struct stream_rx *stream)
{
	if (stream->lc3_decoder == NULL) {
		return -EINVAL;
	}

	stream->lc3_decoder = NULL;

	if (IS_ENABLED(CONFIG_USE_USB_AUDIO_OUTPUT)) {
		if (usb_left_stream == stream) {
			usb_left_stream = NULL;
		}
		if (usb_right_stream == stream) {
			usb_right_stream = NULL;
		}
	}

	return 0;
}

void lc3_enqueue_for_decoding(struct stream_rx *stream, const struct bt_iso_recv_info *info,
			      struct net_buf *buf)
{
	const uint8_t frame_blocks_per_sdu = stream->lc3_frame_blocks_per_sdu;
	const uint16_t octets_per_frame = stream->lc3_octets_per_frame;
	const uint8_t chan_cnt = stream->lc3_chan_cnt;
	struct lc3_data *data;

	if (stream->lc3_decoder == NULL) {
		return;
	}

	/* Allocate a context that holds both the buffer and the stream so that we can
	 * send both of these values to the LC3 decoder thread as a single struct
	 * in a FIFO
	 */
	if (k_mem_slab_alloc(&lc3_data_slab, (void **)&data, K_NO_WAIT)) {
		LOG_WRN("Could not allocate LC3 data item");
		return;
	}
	(void)memset(data, 0, sizeof(*data));

	if ((info->flags & BT_ISO_FLAGS_VALID) == 0) {
		data->do_plc = true;
	} else if (buf->len != (octets_per_frame * chan_cnt * frame_blocks_per_sdu)) {
		if (buf->len != 0U) {
			LOG_WRN("Expected %u frame blocks with %u channels of size %u, but "
				"length is %u",
				frame_blocks_per_sdu, chan_cnt, octets_per_frame, buf->len);
		}

		data->do_plc = true;
	}

	data->buf = net_buf_ref(buf);
	data->stream = stream;
	if (info->flags & BT_ISO_FLAGS_TS) {
		data->ts = info->ts;
	} else {
		data->ts = 0U;
	}

	k_fifo_put(&lc3_in_fifo, data);
}

int lc3_init(void)
{
	static K_KERNEL_STACK_DEFINE(lc3_decoder_thread_stack, 4096);
	const int lc3_decoder_thread_prio = K_PRIO_PREEMPT(5);
	static struct k_thread lc3_decoder_thread;
	static bool initialized;

	if (initialized) {
		return -EALREADY;
	}

	k_thread_create(&lc3_decoder_thread, lc3_decoder_thread_stack,
			K_KERNEL_STACK_SIZEOF(lc3_decoder_thread_stack), lc3_decoder_thread_func,
			NULL, NULL, NULL, lc3_decoder_thread_prio, 0, K_NO_WAIT);
	k_thread_name_set(&lc3_decoder_thread, "LC3 Decoder");

	LOG_INF("LC3 initialized");
	initialized = true;

	return 0;
}
```

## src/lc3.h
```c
/**
 * @file
 * @brief Bluetooth BAP Broadcast Sink LC3 header
 *
 * This files handles all the LC3 related functionality for the sample
 *
 * Copyright (c) 2025 Nordic Semiconductor ASA
 *
 * SPDX-License-Identifier: Apache-2.0
 */
#ifndef SAMPLE_BAP_BROADCAST_SINK_LC3_H
#define SAMPLE_BAP_BROADCAST_SINK_LC3_H

#include <stdbool.h>
#include <stddef.h>

#include <zephyr/autoconf.h>
#include <zephyr/bluetooth/audio/audio.h>
#include <zephyr/bluetooth/iso.h>
#include <zephyr/device.h>
#include <zephyr/devicetree.h>
#include <zephyr/kernel.h>
#include <zephyr/logging/log.h>
#include <zephyr/net_buf.h>
#include <zephyr/shell/shell.h>
#include <zephyr/sys/clock.h>
#include <zephyr/sys/ring_buffer.h>
#include <zephyr/sys/util.h>
#include <zephyr/sys/util_macro.h>
#include <zephyr/sys_clock.h>
#include <zephyr/toolchain.h>
#include <zephyr/usb/usb_device.h>
#include <zephyr/usb/class/usb_audio.h>

#include "stream_rx.h"

#define LC3_MAX_SAMPLE_RATE_HZ     48000U
#define LC3_MAX_FRAME_DURATION_US  10000U
#define LC3_MAX_NUM_SAMPLES_MONO                                                                   \
	((LC3_MAX_FRAME_DURATION_US * LC3_MAX_SAMPLE_RATE_HZ) / USEC_PER_SEC)
#define LC3_MAX_NUM_SAMPLES_STEREO (LC3_MAX_NUM_SAMPLES_MONO * 2U)

/**
 * @brief Enables LC3 for a stream
 *
 * This will initialize the LC3 decoder given the @p stream codec configuration
 *
 * @param stream The stream to enable LC3 for

 * @retval 0 Success
 * @retval -EINVAL The stream is not LC3 codec configured or the codec configuration is invalid
 */
int lc3_enable(struct stream_rx *stream);

/**
 * @brief Disabled LC3 for a stream
 *
 * @param stream The stream to disable LC3 for

 * @retval 0 Success
 * @retval -EINVAL The stream is LC3 initialized
 */
int lc3_disable(struct stream_rx *stream);

/**
 * @brief Enqueue an SDU for decoding
 *
 * @param stream The stream that received the SDU
 * @param info Information about the SDU
 * @param buf The buffer of the SDU
 */
void lc3_enqueue_for_decoding(struct stream_rx *stream, const struct bt_iso_recv_info *info,
			      struct net_buf *buf);

/**
 * @brief Initialize the LC3 module
 *
 * This will start the thread if not already initialized
 *
 * @retval 0 Success
 * @retval -EALREADY Already initialized
 */
int lc3_init(void);
#endif /* SAMPLE_BAP_BROADCAST_SINK_LC3_H */
```

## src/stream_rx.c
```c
/*
 * Copyright (c) 2025 Nordic Semiconductor ASA
 *
 * SPDX-License-Identifier: Apache-2.0
 */
#include <errno.h>
#include <stdint.h>
#include <string.h>

#include <zephyr/autoconf.h>
#include <zephyr/bluetooth/audio/audio.h>
#include <zephyr/bluetooth/audio/bap.h>
#include <zephyr/bluetooth/hci_types.h>
#include <zephyr/bluetooth/iso.h>
#include <zephyr/kernel.h>
#include <zephyr/logging/log.h>
#include <zephyr/logging/log_core.h>
#include <zephyr/net_buf.h>
#include <zephyr/sys/util.h>
#include <zephyr/sys/util_macro.h>

#if defined(CONFIG_LIBLC3)
#include <lc3.h>
#endif /* defined(CONFIG_LIBLC3) */

#include "stream_rx.h"
#include "lc3.h"

struct stream_rx rx_streams[CONFIG_BT_BAP_BROADCAST_SNK_STREAM_COUNT];
uint64_t total_rx_iso_packet_count; /* This value is exposed to test code */

LOG_MODULE_REGISTER(stream_rx, CONFIG_LOG_DEFAULT_LEVEL);

#if CONFIG_INFO_REPORTING_INTERVAL > 0
static void log_stream_rx(const struct stream_rx *stream, const struct bt_iso_recv_info *info,
			  const struct net_buf *buf)
{
	LOG_INF("[%zu]: Incoming audio on stream %p len %u, flags 0x%02X, seq_num %u and ts %u: "
		"Valid %zu | Error %zu | Loss %zu | Dup TS %zu | Dup PSN %zu",
		stream->reporting_info.recv_cnt, &stream->stream, buf->len, info->flags,
		info->seq_num, info->ts, stream->reporting_info.valid_cnt,
		stream->reporting_info.error_cnt, stream->reporting_info.loss_cnt,
		stream->reporting_info.dup_ts_cnt, stream->reporting_info.dup_psn_cnt);
}
#endif /* CONFIG_INFO_REPORTING_INTERVAL > 0 */

void stream_rx_recv(struct bt_bap_stream *bap_stream, const struct bt_iso_recv_info *info,
		    struct net_buf *buf)
{
	struct stream_rx *stream = CONTAINER_OF(bap_stream, struct stream_rx, stream);

#if CONFIG_INFO_REPORTING_INTERVAL > 0
	bool do_log = false;

	stream->reporting_info.recv_cnt++;
	if (stream->reporting_info.recv_cnt == 1U) {
		/* Log first reception */
		do_log = true;

	} else if ((stream->reporting_info.recv_cnt % CONFIG_INFO_REPORTING_INTERVAL) == 0U) {
		/* Log once for every CONFIG_INFO_REPORTING_INTERVAL reception */
		do_log = true;
	}

	if (stream->reporting_info.recv_cnt > 1U && info->ts == stream->reporting_info.last_ts) {
		stream->reporting_info.dup_ts_cnt++;
		do_log = true;
		LOG_WRN("Duplicated timestamp received: %u", stream->reporting_info.last_ts);
	}

	if (stream->reporting_info.recv_cnt > 1U &&
	    info->seq_num == stream->reporting_info.last_seq_num) {
		stream->reporting_info.dup_psn_cnt++;
		do_log = true;
		LOG_WRN("Duplicated PSN received: %u", stream->reporting_info.last_seq_num);
	}

	if (info->flags & BT_ISO_FLAGS_ERROR) {
		stream->reporting_info.error_cnt++;
		do_log = true;
		LOG_DBG("ISO receive error");
	}

	if (info->flags & BT_ISO_FLAGS_LOST) {
		stream->reporting_info.loss_cnt++;
		do_log = true;
		LOG_DBG("ISO receive lost");
	}

	if (info->flags & BT_ISO_FLAGS_VALID) {
		if (buf->len == 0U) {
			stream->reporting_info.empty_sdu_cnt++;
		} else {
			stream->reporting_info.valid_cnt++;
		}
	}

	if (do_log) {
		log_stream_rx(stream, info, buf);
	}

	stream->reporting_info.last_seq_num = info->seq_num;
	stream->reporting_info.last_ts = info->ts;
#endif /* CONFIG_INFO_REPORTING_INTERVAL > 0 */

	total_rx_iso_packet_count++;

	if (IS_ENABLED(CONFIG_LIBLC3)) {
		/* Invalid SDUs will trigger PLC */
		lc3_enqueue_for_decoding(stream, info, buf);
	}
}

int stream_rx_started(struct bt_bap_stream *bap_stream)
{
	struct stream_rx *stream = CONTAINER_OF(bap_stream, struct stream_rx, stream);

	if (stream == NULL) {
		return -EINVAL;
	}

#if CONFIG_INFO_REPORTING_INTERVAL > 0
	memset(&stream->reporting_info, 0, sizeof((stream->reporting_info)));
#endif /* CONFIG_INFO_REPORTING_INTERVAL > 0 */

	if (IS_ENABLED(CONFIG_LIBLC3) && bap_stream->codec_cfg != NULL &&
	    bap_stream->codec_cfg->id == BT_HCI_CODING_FORMAT_LC3) {
		int err;

		err = lc3_enable(stream);
		if (err < 0) {
			LOG_ERROR("Error: cannot enable LC3 codec: %d", err);
			return err;
		}
	}

	return 0;
}

int stream_rx_stopped(struct bt_bap_stream *bap_stream)
{
	struct stream_rx *stream = CONTAINER_OF(bap_stream, struct stream_rx, stream);

	if (bap_stream == NULL) {
		return -EINVAL;
	}

	if (IS_ENABLED(CONFIG_LIBLC3) && bap_stream->codec_cfg != NULL &&
	    bap_stream->codec_cfg->id == BT_HCI_CODING_FORMAT_LC3) {
		int err;

		err = lc3_disable(stream);
		if (err < 0) {
			LOG_ERROR("Error: cannot disable LC3 codec: %d", err);
			return err;
		}
	}

	return 0;
}

void stream_rx_get_streams(
	struct bt_bap_stream *bap_streams[CONFIG_BT_BAP_BROADCAST_SNK_STREAM_COUNT])
{
	for (size_t i = 0U; i < ARRAY_SIZE(rx_streams); i++) {
		bap_streams[i] = &rx_streams[i].stream;
	}
}
```

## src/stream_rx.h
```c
/*
 * Copyright (c) 2025 Nordic Semiconductor ASA
 *
 * SPDX-License-Identifier: Apache-2.0
 */
#ifndef SAMPLE_BAP_BROADCAST_SINK_STREAM_RX_H
#define SAMPLE_BAP_BROADCAST_SINK_STREAM_RX_H

#include <stddef.h>
#include <stdint.h>

#include <zephyr/autoconf.h>
#include <zephyr/bluetooth/audio/audio.h>
#include <zephyr/bluetooth/audio/bap.h>
#include <zephyr/bluetooth/iso.h>
#include <zephyr/kernel.h>
#include <zephyr/net_buf.h>

#if defined(CONFIG_LIBLC3)
#include <lc3.h>
#endif /* defined(CONFIG_LIBLC3) */

struct stream_rx {
	/* A BAP stream object */
	struct bt_bap_stream stream;
#if CONFIG_INFO_REPORTING_INTERVAL > 0
	/** Struct containing information useful for logging purposes */
	struct {
		/** Total Number of SDUs received */
		size_t recv_cnt;
		/** Number of lost SDUs */
		size_t loss_cnt;
		/** Number of SDUs containing errors */
		size_t error_cnt;
		/** Number of valid SDUs received */
		size_t valid_cnt;
		/** Number of empty SDUs received */
		size_t empty_sdu_cnt;
		/** Number of SDUs with duplicated packet sequence number received */
		size_t dup_psn_cnt;
		/** Number of SDUs with duplicated timestamps received */
		size_t dup_ts_cnt;
		/** The last received timestamp to track dup_ts_cnt */
		uint32_t last_ts;
		/** The last received sequence number to track dup_psn_cnt */
		uint16_t last_seq_num;
#if CONFIG_LIBLC3 > 0
		/** Number of SDUs decoded  */
		size_t lc3_decoded_cnt;
#endif /* CONFIG_LIBLC3 > 0 */
	} reporting_info;
#endif /* CONFIG_INFO_REPORTING_INTERVAL > 0 */

#if defined(CONFIG_LIBLC3)
	/** Octets per frame - Used to validate that the incoming data is of correct size  */
	uint16_t lc3_octets_per_frame;
	/** Frame blocks per SDU - Used to split the SDU into frame blocks when decoding */
	uint8_t lc3_frame_blocks_per_sdu;

	/** Number of channels - Used to split the SDU into frame blocks when decoding */
	uint8_t lc3_chan_cnt;

	/**
	 * @brief The configured channels of the stream
	 *
	 * Used to determine whether to send data to USB and count number of channels
	 */
	enum bt_audio_location lc3_chan_allocation;

	/** Memory use for the LC3 decoder - Supports any configuration */
	lc3_decoder_mem_48k_t lc3_decoder_mem;
	/** Reference to the LC3 decoder */
	lc3_decoder_t lc3_decoder;
#endif /* defined(CONFIG_LIBLC3) */
};

/**
 * @brief Function to call for each SDU received
 *
 * Will decode with LC3 and send to USB if enabled
 */
void stream_rx_recv(struct bt_bap_stream *bap_stream, const struct bt_iso_recv_info *info,
		    struct net_buf *buf);

size_t stream_rx_get_streaming_cnt(void);
int stream_rx_started(struct bt_bap_stream *bap_stream);
int stream_rx_stopped(struct bt_bap_stream *bap_stream);
void stream_rx_get_streams(
	struct bt_bap_stream *bap_streams[CONFIG_BT_BAP_BROADCAST_SNK_STREAM_COUNT]);

#endif /* SAMPLE_BAP_BROADCAST_SINK_STREAM_RX_H */
```
